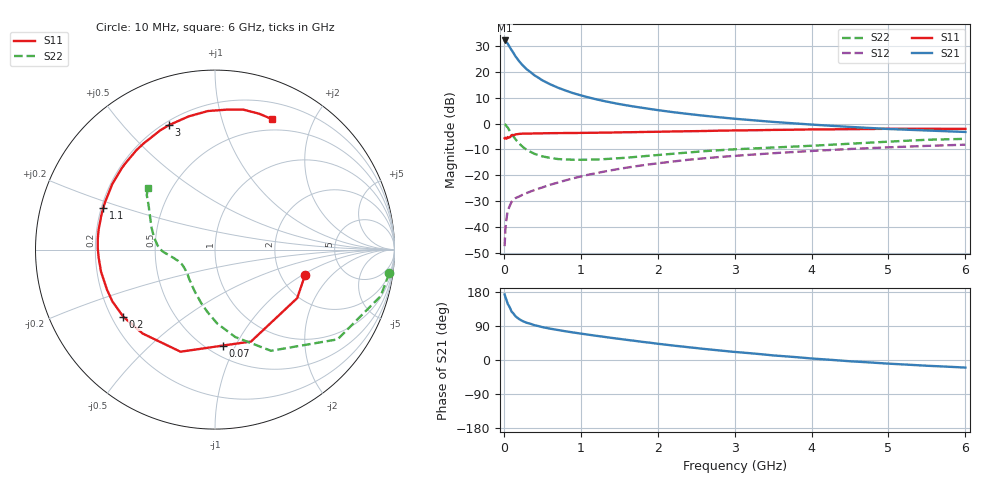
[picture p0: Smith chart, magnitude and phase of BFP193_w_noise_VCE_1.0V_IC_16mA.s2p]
! Infineon Technologies  Discrete & RF Semiconductors
! BFP193
! VCE =  1.0 V,  IC =  16 mA
! Common Emitter S-Parameters:  Jan 2017
# GHz  S  MA  R  50
!  f  S11  S21  S12  S22
! GHz  MAG  ANG  MAG  ANG  MAG  ANG  MAG  ANG
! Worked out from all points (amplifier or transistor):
!   77 points, 10 MHz to 6 GHz, reference 50 ohm
!   highest |S21| = 32.3 dB at 10 MHz (marker M1)
!   |S21| within 3 dB of that: start of sweep to 85.15 MHz
!   unconditionally stable (mu >= 1): 866.9 MHz to 2.842 GHz
!   at 130 MHz: K = 0.34, MSG = 28.3 dB, |S12| = -29.5 dB
!   at 2.2 GHz: K = 1.03, MAG = 8.5 dB, |S12| = -14.7 dB
!   at 6 GHz: K = 0.96, MSG = 2.5 dB, |S12| = -8.1 dB
!   lowest NFmin = 0.97 dB at 450 MHz
!   S11 on the Smith chart (normalised r, x): 10 MHz: 2.72, -1.05; 70 MHz: 0.59, -0.89; 200 MHz: 0.25, -0.31; 1.1 GHz: 0.21, +0.17; 3 GHz: 0.22, +0.67; 6 GHz: 0.37, +1.47
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0.01  0.521 -15.6  41.12 173.1  0.0042 83.1  0.9795 -7.8
0.02  0.5319 -30.5  40.83 166.4  0.0088 79.0  0.9586 -15.7
0.05  0.5501 -68.6  35.77 148.2  0.0201 65.8  0.8465 -36.2
0.07  0.5366 -85.4  31.77 141.4  0.024 58.6  0.7498 -44.5
0.1  0.6005 -108.7  26.89 127.8  0.0304 51.5  0.6447 -61.0
0.12  0.5964 -117.7  24.16 123.7  0.0325 49.2  0.582 -66.4
0.15  0.6174 -130.8  20.37 115.7  0.0358 46.3  0.5005 -76.9
0.2  0.6331 -143.8  16.17 107.8  0.0387 44.5  0.4111 -88.4
0.25  0.6405 -153.3  13.29 102.1  0.0423 44.8  0.3502 -96.9
0.3  0.6418 -159.6  11.26 98.1  0.0453 45.1  0.3087 -104.3
0.4  0.6468 -168.9  8.619 91.7  0.0517 47.6  0.2592 -115.8
0.5  0.6497 -175.9  6.943 86.8  0.0579 49.6  0.2321 -124.6
0.7  0.6559 174.6  5.01 79.3  0.0717 53.1  0.2061 -137.7
0.9  0.6583 166.7  3.913 72.7  0.0868 54.3  0.1997 -146.4
1.1  0.6644 159.7  3.233 66.8  0.1023 54.8  0.2001 -153.0
1.5  0.6785 147.7  2.4 55.8  0.1326 53.0  0.214 -162.8
2.1  0.7004 130.8  1.75 40.6  0.177 47.6  0.2534 -172.3
3  0.7391 110.5  1.246 21.3  0.2374 37.6  0.3182 176.5
3.1  0.741 108.6  1.211 19.7  0.2431 36.4  0.323 175.0
4.1  0.7737 91.5  0.94 2.6  0.3005 25.4  0.3793 159.4
5.1  0.7949 77.3  0.777 -10.7  0.3519 14.2  0.4554 144.9
6  0.7933 66.2  0.69 -20.0  0.3913 4.4  0.5072 137.3
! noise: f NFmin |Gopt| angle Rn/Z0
0.45  0.97  0.24  173  0.07
0.9  1.06  0.36  179  0.07
1.9  1.74  0.56  -142  0.14
2.4  2.05  0.62  -125  0.33
